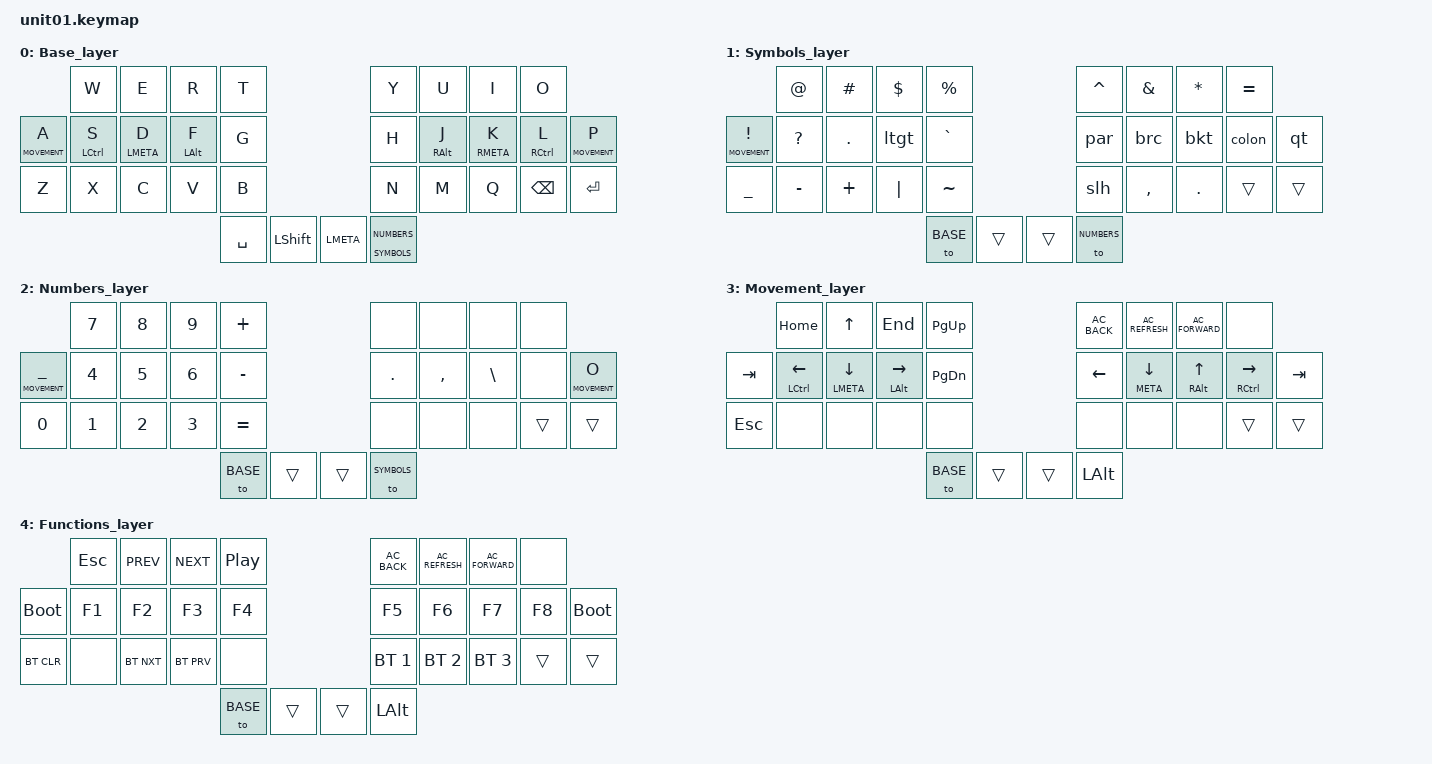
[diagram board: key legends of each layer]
#include <behaviors.dtsi>
#include <dt-bindings/zmk/keys.h>
#include <dt-bindings/zmk/bt.h>

#define BASE 0
#define SYMBOLS 1
#define NUMBERS 2
#define MOVEMENT 3
#define FUNCTIONS 4

  &mt {
    tapping-term-ms = <201>;
    flavor = "tap-preferred";
  };

  &sk {
    release-after-ms = <2000>;
    quick-release;
  };

 / {
  
  combos {
    compatible = "zmk,combos";
    combo_function {
      timeout-ms = <30>;
      key-positions = <9 16>;
      bindings = <&to FUNCTIONS>;
    };
    combo_reset_left {
      timeout-ms = <30>;
      key-positions = <0 1 2 3>;
      bindings = <&sys_reset>;
    };
    combo_reset_right {
      timeout-ms = <30>;
      key-positions = <4 5 6 7>;
      bindings = <&sys_reset>;
    };
    combo_bootloader_left {
      timeout-ms = <30>;
      key-positions = <19 20 21 22>;
      bindings = <&bootloader>;
    };
    combo_bootloader_right {
      timeout-ms = <30>;
      key-positions = <23 24 25 26>;
      bindings = <&bootloader>;
    };
  };

  behaviors {
    hm: homerow_mods {
      compatible = "zmk,behavior-hold-tap";
      label = "HOMEROW_MODS";
      #binding-cells = <2>;
      tapping-term-ms = <250>;
      quick-tap-ms = <0>;
      flavor = "tap-preferred";
      bindings = <&kp>, <&kp>;
    };
    mo_to: behavior_mo_to {
        compatible = "zmk,behavior-hold-tap";
        label = "MO_TO";
        #binding-cells = <2>;
        flavor = "hold-preferred";
        tapping-term-ms = <200>;
        bindings = <&mo>, <&to>;
    };
    brc: tap_dance_0 {
      compatible = "zmk,behavior-tap-dance";
      label = "TAP_DANCE_0";
      #binding-cells = <0>;
      tapping-term-ms = <200>;
      bindings = <&kp LBRC>, <&kp RBRC>;
    };
    bkt: tap_dance_1 {
      compatible = "zmk,behavior-tap-dance";
      label = "TAP_DANCE_1";
      #binding-cells = <0>;
      tapping-term-ms = <200>;
      bindings = <&kp LBKT>, <&kp RBKT>;
    };
    par: tap_dance_2 {
      compatible = "zmk,behavior-tap-dance";
      label = "TAP_DANCE_2";
      #binding-cells = <0>;
      tapping-term-ms = <200>;
      bindings = <&kp LPAR>, <&kp RPAR>;
    };
    ltgt: tap_dance_3 {
      compatible = "zmk,behavior-tap-dance";
      label = "TAP_DANCE_3";
      #binding-cells = <0>;
      tapping-term-ms = <200>;
      bindings = <&kp LT>, <&kp GT>;
    };
    qt: tap_dance_4 {
      compatible = "zmk,behavior-tap-dance";
      label = "TAP_DANCE_4";
      #binding-cells = <0>;
      tapping-term-ms = <200>;
      bindings = <&lt MOVEMENT SQT>, <&kp DQT>;
    };
    colon: tap_dance_5 {
      compatible = "zmk,behavior-tap-dance";
      label = "TAP_DANCE_5";
      #binding-cells = <0>;
      tapping-term-ms = <200>;
      bindings = <&kp COLON>, <&kp SEMI>;
    };
    slh: tap_dance_6 {
      compatible = "zmk,behavior-tap-dance";
      label = "TAP_DANCE_6";
      #binding-cells = <0>;
      tapping-term-ms = <200>;
      bindings = <&kp FSLH>, <&kp BSLH>;
    };
  };

  keymap {
    compatible = "zmk,keymap";

    Base_layer {
      bindings = <
                              &kp W                 &kp E                 &kp R                 &kp T                                                                 &kp Y                 &kp U                 &kp I                 &kp O                 
        &lt MOVEMENT A        &hm LCTRL S           &hm LMETA D           &hm LALT F            &kp G                                                                 &kp H                 &hm RALT J            &hm RMETA K           &hm RCTRL L           &lt MOVEMENT P                 
        &kp Z                 &kp X                 &kp C                 &kp V                 &kp B                                                                 &kp N                 &kp M                 &kp Q                 &kp BSPC              &kp RET                      
                                                                                                &kp SPACE             &kp LSHIFT                &kp LMETA             &mo_to SYMBOLS NUMBERS           
      >;
    };

    Symbols_layer {
      bindings = <
                              &kp AT                &kp HASH              &kp DOLLAR            &kp PRCNT                                                             &kp CARET             &kp AMPS              &kp STAR              &kp EQUAL                 
        &lt MOVEMENT EXCL     &kp QMARK             &kp DOT               &ltgt                 &kp GRAVE                                                             &par                  &brc                  &bkt                  &colon                &qt         
        &kp UNDER             &kp MINUS             &kp PLUS              &kp PIPE              &kp TILDE                                                             &slh                  &kp COMMA             &kp DOT               &trans                &trans                
                                                                                                &to BASE              &trans                    &trans                &to NUMBERS           
      >;
    };

    Numbers_layer {
      bindings = <
                              &kp N7                &kp N8                &kp N9                &kp PLUS                                                              &none                 &none                 &none                 &none                 
        &lt MOVEMENT UNDER    &kp N4                &kp N5                &kp N6                &kp MINUS                                                             &kp DOT               &kp COMMA             &kp BACKSLASH         &none                 &lt MOVEMENT O          
        &kp N0                &kp N1                &kp N2                &kp N3                &kp EQUAL                                                             &none                 &none                 &none                 &trans                &trans                
                                                                                                &to BASE              &trans                    &trans                &to SYMBOLS           
      >;
    };
    
    Movement_layer {
      bindings = <
                              &kp HOME              &kp UP                &kp END               &kp PG_UP                                                             &kp C_AC_BACK         &kp C_AC_REFRESH      &kp C_AC_FORWARD      &none                 
        &kp TAB               &hm LCTRL LEFT        &hm LMETA DOWN        &hm LALT RIGHT        &kp PG_DN                                                             &kp LEFT              &hm META DOWN         &hm RALT UP           &hm RCTRL RIGHT       &kp TAB
        &kp ESC               &none                 &none                 &none                 &none                                                                 &none                 &none                 &none                 &trans                &trans                
                                                                                                &to BASE              &trans                    &trans                &kp LALT                 
      >;
    };

    Functions_layer {
      bindings = <
                              &kp ESC               &kp C_PREV            &kp C_NEXT            &kp C_PP                                                              &kp C_AC_BACK         &kp C_AC_REFRESH      &kp C_AC_FORWARD      &none                 
        &bootloader           &kp F1                &kp F2                &kp F3                &kp F4                                                                &kp F5                &kp F6                &kp F7                &kp F8                &bootloader           
        &bt BT_CLR            &none                 &bt BT_NXT            &bt BT_PRV            &none                                                                 &bt BT_SEL 1          &bt BT_SEL 2          &bt BT_SEL 3          &trans                &trans                
                                                                                                &to BASE              &trans                    &trans                &kp LALT              
      >;
    };

  };
};
